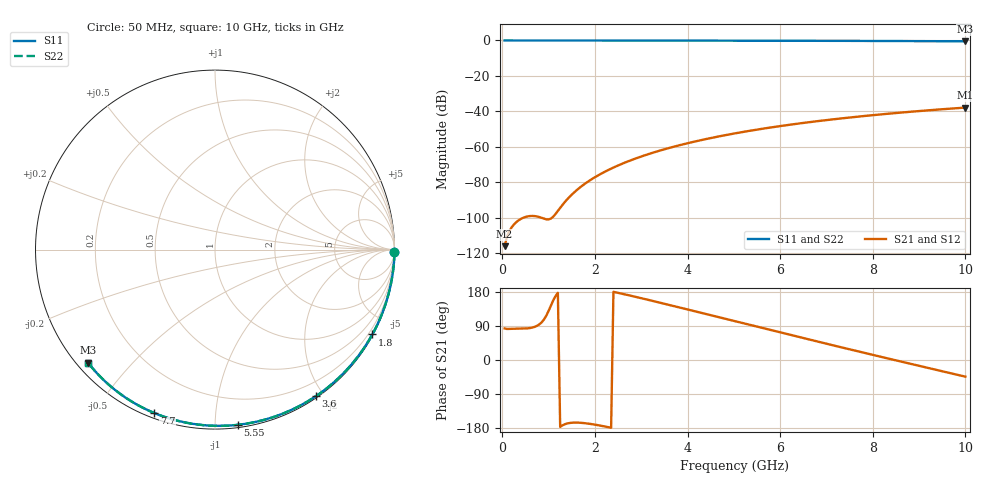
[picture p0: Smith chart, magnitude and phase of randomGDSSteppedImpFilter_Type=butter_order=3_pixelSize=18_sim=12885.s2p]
! freq	dB(S11)	phase(S11)	dB(S12)	phase(S12)
!  dB(S21)	phase(S21)	dB(S22)	phase(S22)
!S-par simulation data
#  GHz  S  DB  R 50
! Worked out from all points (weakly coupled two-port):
!   200 points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, 50 MHz to 10 GHz, reference 50 ohm
!   highest |S21| = -37.86 dB at 10 GHz (marker M1); lowest = -116.0 dB at 50 MHz (marker M2)
!   lowest |S11| = -0.5 dB at 10 GHz (marker M3), VSWR 37.09, Z = 1.54 - j19 ohm
!   |S11| at or under -10 dB: nowhere
!   |S22| runs from -0.5 to 0.0 dB; largest |S21 - S12| = 0
!   S11 on the Smith chart (normalised r, x): 50 MHz: open; 1.8 GHz: 0.03, -3.96; 3.6 GHz: 0.02, -1.91; 5.55 GHz: 0.02, -1.14; 7.7 GHz: 0.02, -0.70; 10 GHz: 0.03, -0.38
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0.05  -0.00 -0.8  -116.04 83.4  -116.04 83.4  -0.00 -0.8
0.45  -0.01 -7.2  -100.04 82.8  -100.04 82.8  -0.01 -7.2
0.9  -0.02 -14.3  -100.53 106.9  -100.53 106.9  -0.02 -14.3
1.75  -0.04 -27.6  -81.47 -166.3  -81.47 -166.3  -0.04 -27.6
1.8  -0.04 -28.4  -80.52 -167.0  -80.52 -167.0  -0.04 -28.4
1.85  -0.04 -29.1  -79.63 -167.8  -79.63 -167.8  -0.04 -29.1
2.05  -0.04 -32.2  -76.38 -171.6  -76.38 -171.6  -0.04 -32.2
2.25  -0.05 -35.3  -73.57 -176.3  -73.57 -176.3  -0.05 -35.3
2.55  -0.05 -39.8  -69.95 175.9  -69.95 175.9  -0.05 -39.8
2.95  -0.06 -45.8  -65.92 164.6  -65.92 164.6  -0.06 -45.8
3.4  -0.07 -52.5  -62.14 151.4  -62.14 151.4  -0.07 -52.5
3.6  -0.07 -55.4  -60.66 145.4  -60.66 145.4  -0.07 -55.4
3.9  -0.08 -59.7  -58.61 136.4  -58.61 136.4  -0.08 -59.7
4.3  -0.09 -65.4  -56.18 124.3  -56.18 124.3  -0.09 -65.4
5.05  -0.12 -75.9  -52.29 101.5  -52.29 101.5  -0.12 -75.9
5.55  -0.14 -82.6  -50.08 86.3  -50.08 86.3  -0.14 -82.6
6.1  -0.16 -89.9  -47.93 69.8  -47.93 69.8  -0.16 -89.9
6.7  -0.19 -97.7  -45.86 51.8  -45.86 51.8  -0.19 -97.7
7.7  -0.25 -110.3  -42.92 22.3  -42.92 22.3  -0.25 -110.3
8.35  -0.30 -118.3  -41.28 3.4  -41.28 3.4  -0.30 -118.3
9.2  -0.38 -128.6  -39.40 -21.1  -39.40 -21.1  -0.38 -128.6
10  -0.47 -138.3  -37.86 -44.0  -37.86 -44.0  -0.47 -138.3
